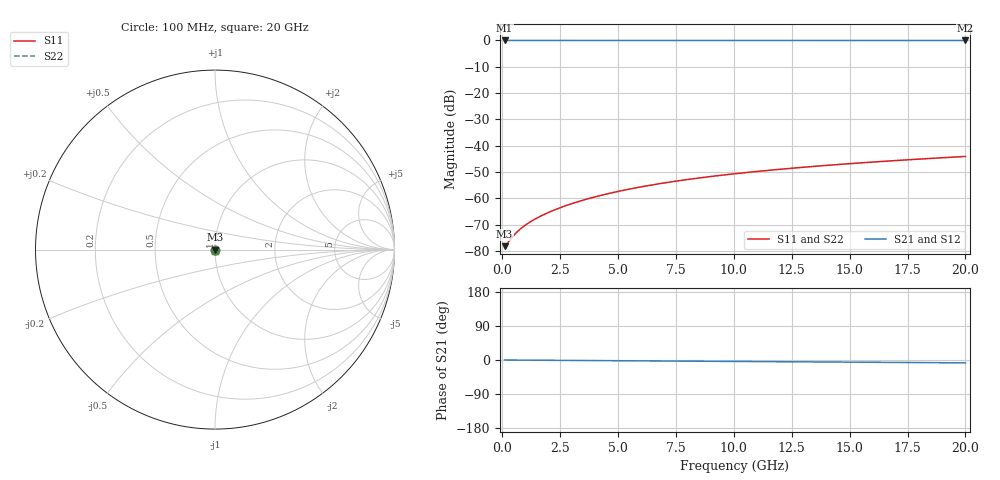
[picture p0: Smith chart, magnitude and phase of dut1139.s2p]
! Touchstone file exported from HFSS 2026.1.0
!  File:  C:/ffzhzh/LocalFiles/Ansys_Project_Files/temp_train_TSV_1139_1783191328_55132.aedt
!  Generated:  02:56:57 AM Jul  5, 2026
!  Design:  TSV
!  Project:  temp_train_TSV_1139_1783191328_55132
! Variables:
!  h_bsmrdl = 2um
!  h_ox = 20um
!  h_rdl = 5um
!  h_sub = 75.96um
!  h_tmrdl = 5um
!  h_tsv = 75.96um
!  h_via = 3um
!  l_bsmrdl = 300um
!  l_sub = 420.18um
!  l_tmrdl = 200um
!  m_sub = 200um
!  pitch = 38.77um
!  r_tsv = 10.09um
!  s_tmrdl = 10um
!  w_bsmrdl = 18um
!  w_sub = 500um
!  w_tmrdl = 12um
!  x_tsv_center1 = 206um
!  x_tsv_center2 = 524um
!  x_tsv_center3 = 736um
!  x_tsv_center4 = 1054um
!  x_tsv_center5 = 1266um
!  x_tsv_center6 = 1584um
# GHz S MA R 50.000000
! Terminal data exported
! Port[1] = TSV1_1_T1
! Port[2] = TSV1_1_T2
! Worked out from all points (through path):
!   200 points, 100 MHz to 20 GHz, reference 50 ohm
!   highest |S21| = 0.00 dB at 100 MHz (marker M1); lowest = 0.0 dB at 20 GHz (marker M2)
!   group delay of S21, straight-line fit = 1.04 ps
!   lowest |S11| = -78.2 dB at 100 MHz (marker M3), VSWR 1.00, Z = 50 + j0.0012 ohm
!   |S11| at or under -10 dB: start of sweep to end of sweep
!   |S22| runs from -78.2 to -44.1 dB; largest |S21 - S12| = 4.1e-15
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0.1  0.0001236 5.6  0.9999 -0.0  0.9999 -0.0  0.0001236 5.6
! Gamma 0 0 0 0
! Port Impedance 50 0 50 0
0.2  0.0001367 8.9  0.9999 -0.1  0.9999 -0.1  0.0001367 8.9
0.5  0.0001991 4.6  0.9998 -0.2  0.9998 -0.2  0.0001991 4.6
0.7  0.0002446 -3.4  0.9998 -0.3  0.9998 -0.3  0.0002446 -3.4
0.8  0.0002671 -7.5  0.9997 -0.3  0.9997 -0.3  0.0002671 -7.5
1  0.0003117 -15.4  0.9997 -0.4  0.9997 -0.4  0.0003117 -15.4
1.3  0.0003787 -25.4  0.9997 -0.5  0.9997 -0.5  0.0003787 -25.4
1.5  0.0004241 -30.8  0.9996 -0.6  0.9996 -0.6  0.0004241 -30.8
1.8  0.0004936 -37.5  0.9996 -0.7  0.9996 -0.7  0.0004936 -37.5
2.3  0.0006144 -45.6  0.9996 -0.9  0.9996 -0.9  0.0006144 -45.6
2.9  0.0007671 -52.3  0.9995 -1.1  0.9995 -1.1  0.0007671 -52.3
3.5  0.0009276 -57.0  0.9995 -1.3  0.9995 -1.3  0.0009276 -57.0
4.2  0.001123 -61.0  0.9994 -1.6  0.9994 -1.6  0.001123 -61.0
5  0.001356 -64.4  0.9994 -1.9  0.9994 -1.9  0.001356 -64.4
5.9  0.001627 -67.4  0.9993 -2.2  0.9993 -2.2  0.001627 -67.4
6.8  0.001905 -69.8  0.9993 -2.6  0.9993 -2.6  0.001904 -69.8
8.3  0.002378 -73.1  0.9992 -3.1  0.9992 -3.1  0.002378 -73.1
10.1  0.002956 -76.1  0.9991 -3.8  0.9991 -3.8  0.002956 -76.1
11.7  0.003477 -78.3  0.999 -4.4  0.999 -4.4  0.003476 -78.3
13.4  0.004035 -80.3  0.999 -5.0  0.999 -5.0  0.004034 -80.3
16.7  0.005134 -83.4  0.9988 -6.3  0.9988 -6.3  0.005133 -83.4
20  0.006258 -85.8  0.9987 -7.5  0.9987 -7.5  0.006258 -85.8
